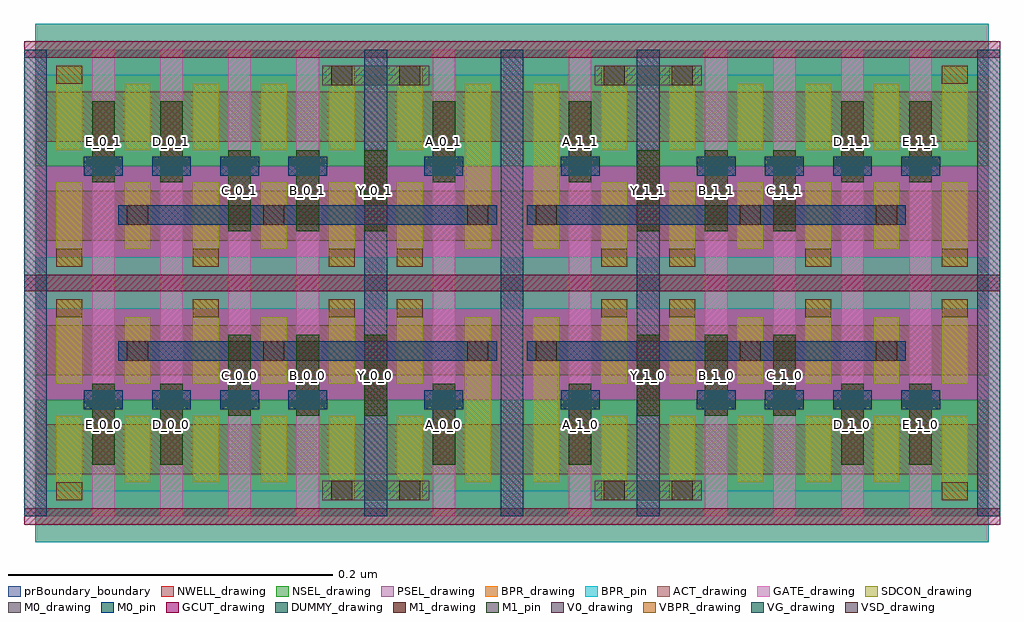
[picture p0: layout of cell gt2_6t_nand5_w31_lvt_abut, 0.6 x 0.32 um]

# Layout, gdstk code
from math import pi, radians
import gdstk
lib = gdstk.Library(unit=1e-6, precision=5e-10)
def R(c, l, rs):  # rectangles x0, y0, x1, y1
    for r in rs: c.add(gdstk.rectangle(r[:2], r[2:], *l))
def A(c, l, x, y, w, h, nx, ny, dx, dy):  # array of equal rectangles
    R(c, l, [(x+i*dx, y+j*dy, x+i*dx+w, y+j*dy+h) for i in range(nx) for j in range(ny)])
NWELL_drawing = (1, 0)
ACT_drawing = (2, 0)
GATE_drawing = (3, 0)
DUMMY_drawing = (4, 0)
GCUT_drawing = (5, 0)
NSEL_drawing = (6, 0)
PSEL_drawing = (7, 0)
BPR_drawing = (8, 0)
BPR_pin = (8, 251)
VBPR_drawing = (9, 0)
SDCON_drawing = (10, 0)
VSD_drawing = (11, 0)
VG_drawing = (12, 0)
M0_drawing = (20, 0)
M0_pin = (20, 251)
V0_drawing = (22, 0)
M1_drawing = (25, 0)
M1_pin = (25, 251)
prBoundary_boundary = (235, 250)

gt2_6t_nand5_w31_lvt = lib.new_cell('gt2_6t_nand5_w31_lvt')
R(gt2_6t_nand5_w31_lvt, NWELL_drawing, [(0,0.072,0.294,0.144)])
R(gt2_6t_nand5_w31_lvt, ACT_drawing, [(0,0.026,0.294,0.057), (0,0.087,0.294,0.118)])
A(gt2_6t_nand5_w31_lvt, GATE_drawing, -0.007, 0, 0.014, 0.144, 8, 1, 0.042, 0)
R(gt2_6t_nand5_w31_lvt, DUMMY_drawing, [(-0.007,0,0.007,0.072), (0.203,0,0.217,0.072), (0.287,0,0.301,0.072), (-0.007,0.072,0.007,0.144), (0.203,0.072,0.217,0.144), (0.287,0.072,0.301,0.144)])
R(gt2_6t_nand5_w31_lvt, GCUT_drawing, [(-0.007,-0.005,0.301,0.005), (-0.007,0.139,0.301,0.149)])
R(gt2_6t_nand5_w31_lvt, NSEL_drawing, [(0,0,0.294,0.072)])
R(gt2_6t_nand5_w31_lvt, PSEL_drawing, [(0,0.072,0.294,0.144)])
R(gt2_6t_nand5_w31_lvt, BPR_drawing, [(0,-0.016,0.294,0.016), (0,0.128,0.294,0.16)])
R(gt2_6t_nand5_w31_lvt, BPR_pin, [(0,-0.016,0.294,0.016), (0,0.128,0.294,0.16)])
A(gt2_6t_nand5_w31_lvt, VBPR_drawing, 0.013, 0.123, 0.016, 0.011, 3, 1, 0.084, 0)
R(gt2_6t_nand5_w31_lvt, VBPR_drawing, [(0.013,0.01,0.029,0.021), (0.223,0.123,0.239,0.134)])
A(gt2_6t_nand5_w31_lvt, SDCON_drawing, 0.055, 0.021, 0.016, 0.041, 3, 1, 0.042, 0)
A(gt2_6t_nand5_w31_lvt, SDCON_drawing, 0.013, 0.082, 0.016, 0.052, 3, 1, 0.084, 0)
R(gt2_6t_nand5_w31_lvt, SDCON_drawing, [(0.013,0.01,0.029,0.062), (0.181,0.01,0.197,0.062), (0.223,0.01,0.239,0.062), (0.265,0.021,0.281,0.123), (0.055,0.082,0.071,0.123), (0.139,0.082,0.155,0.123), (0.223,0.082,0.239,0.134)])
R(gt2_6t_nand5_w31_lvt, VSD_drawing, [(0.1825,0.01,0.1955,0.022), (0.2245,0.01,0.2375,0.022), (0.0565,0.096,0.0695,0.108), (0.1405,0.096,0.1535,0.108), (0.2665,0.096,0.2795,0.108)])
A(gt2_6t_nand5_w31_lvt, VG_drawing, 0.035, 0.066, 0.014, 0.012, 4, 1, 0.042, 0)
R(gt2_6t_nand5_w31_lvt, VG_drawing, [(0.245,0.066,0.259,0.078)])
A(gt2_6t_nand5_w31_lvt, M0_drawing, 0.135, 0.096, 0.024, 0.012, 3, 1, 0.063, 0)
R(gt2_6t_nand5_w31_lvt, M0_drawing, [(0.177,0.01,0.201,0.022), (0.177,0.01,0.243,0.022), (0.219,0.01,0.243,0.022), (0.03,0.066,0.054,0.078), (0.03,0.066,0.054,0.078), (0.072,0.066,0.096,0.078), (0.072,0.066,0.096,0.078), (0.114,0.066,0.138,0.078), (0.114,0.066,0.138,0.078), (0.156,0.066,0.18,0.078), (0.156,0.066,0.18,0.078), (0.24,0.066,0.264,0.078), (0.24,0.066,0.264,0.078), (0.051,0.096,0.075,0.108), (0.051,0.096,0.285,0.108)])
A(gt2_6t_nand5_w31_lvt, M0_pin, 0.135, 0.096, 0.024, 0.012, 3, 1, 0.063, 0)
R(gt2_6t_nand5_w31_lvt, M0_pin, [(0.03,0.066,0.054,0.078), (0.03,0.066,0.054,0.078), (0.072,0.066,0.096,0.078), (0.072,0.066,0.096,0.078), (0.114,0.066,0.138,0.078), (0.114,0.066,0.138,0.078), (0.156,0.066,0.18,0.078), (0.156,0.066,0.18,0.078), (0.24,0.066,0.264,0.078), (0.24,0.066,0.264,0.078), (0.051,0.096,0.075,0.108), (0.051,0.096,0.285,0.108)])
A(gt2_6t_nand5_w31_lvt, V0_drawing, 0.035, 0.066, 0.014, 0.012, 4, 1, 0.042, 0)
R(gt2_6t_nand5_w31_lvt, V0_drawing, [(0.245,0.066,0.259,0.078), (0.203,0.096,0.217,0.108)])
A(gt2_6t_nand5_w31_lvt, M1_drawing, 0.035, 0.062, 0.014, 0.02, 4, 1, 0.042, 0)
A(gt2_6t_nand5_w31_lvt, M1_drawing, 0.119, 0.062, 0.014, 0.05, 3, 1, 0.042, 0)
R(gt2_6t_nand5_w31_lvt, M1_drawing, [(0.035,0.032,0.049,0.082), (0.077,0.032,0.091,0.082), (0.245,0.032,0.259,0.082), (0.245,0.062,0.259,0.082), (0.203,0.092,0.217,0.112)])
A(gt2_6t_nand5_w31_lvt, M1_pin, 0.035, 0.062, 0.014, 0.02, 4, 1, 0.042, 0)
A(gt2_6t_nand5_w31_lvt, M1_pin, 0.119, 0.062, 0.014, 0.05, 3, 1, 0.042, 0)
R(gt2_6t_nand5_w31_lvt, M1_pin, [(0.035,0.032,0.049,0.082), (0.077,0.032,0.091,0.082), (0.245,0.032,0.259,0.082), (0.245,0.062,0.259,0.082), (0.203,0.092,0.217,0.112)])
R(gt2_6t_nand5_w31_lvt, prBoundary_boundary, [(0,0,0.294,0.144)])
gt2_6t_nand5_w31_lvt.add(gdstk.Label('vss', (0.147,0), layer=8, texttype=251))
gt2_6t_nand5_w31_lvt.add(gdstk.Label('vdd', (0.147,0.144), layer=8, texttype=251))
gt2_6t_nand5_w31_lvt.add(gdstk.Label('E', (0.042,0.072), layer=20, texttype=251))
gt2_6t_nand5_w31_lvt.add(gdstk.Label('D', (0.084,0.072), layer=20, texttype=251))
gt2_6t_nand5_w31_lvt.add(gdstk.Label('C', (0.126,0.072), layer=20, texttype=251))
gt2_6t_nand5_w31_lvt.add(gdstk.Label('B', (0.168,0.072), layer=20, texttype=251))
gt2_6t_nand5_w31_lvt.add(gdstk.Label('A', (0.252,0.072), layer=20, texttype=251))
gt2_6t_nand5_w31_lvt.add(gdstk.Label('Y', (0.063,0.102), layer=20, texttype=251))
gt2_6t_nand5_w31_lvt.add(gdstk.Label('Y', (0.147,0.102), layer=20, texttype=251))
gt2_6t_nand5_w31_lvt.add(gdstk.Label('Y', (0.273,0.102), layer=20, texttype=251))
gt2_6t_nand5_w31_lvt.add(gdstk.Label('E', (0.042,0.072), layer=20, texttype=251))
gt2_6t_nand5_w31_lvt.add(gdstk.Label('D', (0.084,0.072), layer=20, texttype=251))
gt2_6t_nand5_w31_lvt.add(gdstk.Label('C', (0.126,0.072), layer=20, texttype=251))
gt2_6t_nand5_w31_lvt.add(gdstk.Label('B', (0.168,0.072), layer=20, texttype=251))
gt2_6t_nand5_w31_lvt.add(gdstk.Label('A', (0.252,0.072), layer=20, texttype=251))
gt2_6t_nand5_w31_lvt.add(gdstk.Label('Y', (0.168,0.102), layer=20, texttype=251))
gt2_6t_nand5_w31_lvt.add(gdstk.Label('Y', (0.21,0.102), layer=20, texttype=251))
gt2_6t_nand5_w31_lvt.add(gdstk.Label('E', (0.042,0.072), layer=25, texttype=251))
gt2_6t_nand5_w31_lvt.add(gdstk.Label('D', (0.084,0.072), layer=25, texttype=251))
gt2_6t_nand5_w31_lvt.add(gdstk.Label('C', (0.126,0.072), layer=25, texttype=251))
gt2_6t_nand5_w31_lvt.add(gdstk.Label('B', (0.168,0.072), layer=25, texttype=251))
gt2_6t_nand5_w31_lvt.add(gdstk.Label('A', (0.252,0.072), layer=25, texttype=251))
gt2_6t_nand5_w31_lvt.add(gdstk.Label('Y', (0.21,0.102), layer=25, texttype=251))
gt2_6t_nand5_w31_lvt.add(gdstk.Label('E', (0.042,0.057), layer=25, texttype=251))
gt2_6t_nand5_w31_lvt.add(gdstk.Label('D', (0.084,0.057), layer=25, texttype=251))
gt2_6t_nand5_w31_lvt.add(gdstk.Label('A', (0.252,0.057), layer=25, texttype=251))
gt2_6t_nand5_w31_lvt.add(gdstk.Label('C', (0.126,0.087), layer=25, texttype=251))
gt2_6t_nand5_w31_lvt.add(gdstk.Label('B', (0.168,0.087), layer=25, texttype=251))
gt2_6t_nand5_w31_lvt.add(gdstk.Label('Y', (0.21,0.087), layer=25, texttype=251))

gt2_6t_nand5_w31_lvt_abu = lib.new_cell('gt2_6t_nand5_w31_lvt_abut')
gt2_6t_nand5_w31_lvt_abu.add(gdstk.Reference(gt2_6t_nand5_w31_lvt, (0,0)))
gt2_6t_nand5_w31_lvt_abu.add(gdstk.Reference(gt2_6t_nand5_w31_lvt, (0.588,0), rotation=pi, x_reflection=True))
gt2_6t_nand5_w31_lvt_abu.add(gdstk.Reference(gt2_6t_nand5_w31_lvt, (0,0.288), x_reflection=True))
gt2_6t_nand5_w31_lvt_abu.add(gdstk.Reference(gt2_6t_nand5_w31_lvt, (0.588,0.288), rotation=pi))
gt2_6t_nand5_w31_lvt_abu.add(gdstk.Label('A_0_0', (0.252,0.057), layer=25, texttype=251))
gt2_6t_nand5_w31_lvt_abu.add(gdstk.Label('B_0_0', (0.168,0.087), layer=25, texttype=251))
gt2_6t_nand5_w31_lvt_abu.add(gdstk.Label('C_0_0', (0.126,0.087), layer=25, texttype=251))
gt2_6t_nand5_w31_lvt_abu.add(gdstk.Label('D_0_0', (0.084,0.057), layer=25, texttype=251))
gt2_6t_nand5_w31_lvt_abu.add(gdstk.Label('E_0_0', (0.042,0.057), layer=25, texttype=251))
gt2_6t_nand5_w31_lvt_abu.add(gdstk.Label('Y_0_0', (0.21,0.087), layer=25, texttype=251))
gt2_6t_nand5_w31_lvt_abu.add(gdstk.Label('A_1_0', (0.336,0.057), layer=25, texttype=251))
gt2_6t_nand5_w31_lvt_abu.add(gdstk.Label('B_1_0', (0.42,0.087), layer=25, texttype=251))
gt2_6t_nand5_w31_lvt_abu.add(gdstk.Label('C_1_0', (0.462,0.087), layer=25, texttype=251))
gt2_6t_nand5_w31_lvt_abu.add(gdstk.Label('D_1_0', (0.504,0.057), layer=25, texttype=251))
gt2_6t_nand5_w31_lvt_abu.add(gdstk.Label('E_1_0', (0.546,0.057), layer=25, texttype=251))
gt2_6t_nand5_w31_lvt_abu.add(gdstk.Label('Y_1_0', (0.378,0.087), layer=25, texttype=251))
gt2_6t_nand5_w31_lvt_abu.add(gdstk.Label('A_0_1', (0.252,0.231), layer=25, texttype=251))
gt2_6t_nand5_w31_lvt_abu.add(gdstk.Label('B_0_1', (0.168,0.201), layer=25, texttype=251))
gt2_6t_nand5_w31_lvt_abu.add(gdstk.Label('C_0_1', (0.126,0.201), layer=25, texttype=251))
gt2_6t_nand5_w31_lvt_abu.add(gdstk.Label('D_0_1', (0.084,0.231), layer=25, texttype=251))
gt2_6t_nand5_w31_lvt_abu.add(gdstk.Label('E_0_1', (0.042,0.231), layer=25, texttype=251))
gt2_6t_nand5_w31_lvt_abu.add(gdstk.Label('Y_0_1', (0.21,0.201), layer=25, texttype=251))
gt2_6t_nand5_w31_lvt_abu.add(gdstk.Label('A_1_1', (0.336,0.231), layer=25, texttype=251))
gt2_6t_nand5_w31_lvt_abu.add(gdstk.Label('B_1_1', (0.42,0.201), layer=25, texttype=251))
gt2_6t_nand5_w31_lvt_abu.add(gdstk.Label('C_1_1', (0.462,0.201), layer=25, texttype=251))
gt2_6t_nand5_w31_lvt_abu.add(gdstk.Label('D_1_1', (0.504,0.231), layer=25, texttype=251))
gt2_6t_nand5_w31_lvt_abu.add(gdstk.Label('E_1_1', (0.546,0.231), layer=25, texttype=251))
gt2_6t_nand5_w31_lvt_abu.add(gdstk.Label('Y_1_1', (0.378,0.201), layer=25, texttype=251))

lib.write_gds('gt2_6t_nand5_w31_lvt_abut.gds')
